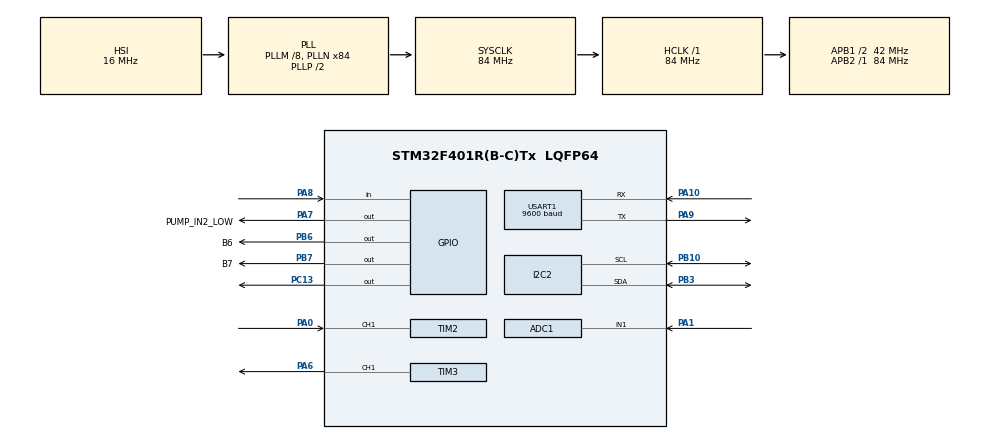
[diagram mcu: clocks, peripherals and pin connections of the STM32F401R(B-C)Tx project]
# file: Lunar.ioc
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ADC1.Channel-0\#ChannelRegularConversion=ADC_CHANNEL_1
ADC1.ClockPrescaler=ADC_CLOCK_SYNC_PCLK_DIV4
ADC1.NbrOfConversionFlag=1
ADC1.Rank-0\#ChannelRegularConversion=1
ADC1.SamplingTime-0\#ChannelRegularConversion=ADC_SAMPLETIME_84CYCLES
ADC1.master=1
Mcu.Family=STM32F4
Mcu.Name=STM32F401R(B-C)Tx
Mcu.Package=LQFP64
NVIC.PriorityGroup=NVIC_PRIORITYGROUP_4
PA0-WKUP.GPIO_PuPd=GPIO_PULLUP
PA0-WKUP.Signal=S_TIM2_CH1_ETR
PA1.Signal=ADCx_IN1
PA10.Mode=Asynchronous
PA10.Signal=USART1_RX
PA13.Mode=Serial_Wire
PA13.Signal=SYS_JTMS-SWDIO
PA14.Mode=Serial_Wire
PA14.Signal=SYS_JTCK-SWCLK
PA6.Signal=S_TIM3_CH1
PA7.GPIO_Label=PUMP_IN2_LOW
PA7.Signal=GPIO_Output
PA8.Signal=GPIO_Input
PA9.Mode=Asynchronous
PA9.Signal=USART1_TX
PB10.Mode=I2C
PB10.Signal=I2C2_SCL
PB3.Mode=I2C
PB3.Signal=I2C2_SDA
PB6.GPIO_Label=B6
PB6.GPIO_ModeDefaultOutputPP=GPIO_MODE_OUTPUT_OD
PB6.GPIO_PuPd=GPIO_NOPULL
PB6.Signal=GPIO_Output
PB7.GPIO_Label=B7
PB7.GPIO_ModeDefaultOutputPP=GPIO_MODE_OUTPUT_OD
PB7.GPIO_PuPd=GPIO_NOPULL
PB7.Signal=GPIO_Output
PC13-ANTI_TAMP.Signal=GPIO_Output
ProjectManager.HeapSize=0x200
ProjectManager.StackSize=0x400
ProjectManager.TargetToolchain=MDK-ARM V5.32
RCC.48MHZClocksFreq_Value=42000000
RCC.AHBFreq_Value=84000000
RCC.APB1CLKDivider=RCC_HCLK_DIV2
RCC.APB1Freq_Value=42000000
RCC.APB1TimFreq_Value=84000000
RCC.APB2Freq_Value=84000000
RCC.APB2TimFreq_Value=84000000
RCC.CortexFreq_Value=84000000
RCC.HCLKFreq_Value=84000000
RCC.HSE_VALUE=25000000
RCC.HSI_VALUE=16000000
RCC.LSE_VALUE=32768
RCC.PLLM=8
RCC.PLLN=84
RCC.SYSCLKFreq_VALUE=84000000
RCC.SYSCLKSource=RCC_SYSCLKSOURCE_PLLCLK
RCC.SystemCoreClock=16000000
RCC.VCOOutputFreq_Value=168000000
SH.ADCx_IN1.0=ADC1_IN1,IN1
SH.S_TIM2_CH1_ETR.0=TIM2_CH1,TriggerSource_TI1FP1
SH.S_TIM3_CH1.0=TIM3_CH1,PWM Generation1 CH1
TIM2.Slave_TriggerFilter=4
TIM3.Channel-PWM\ Generation1\ CH1=TIM_CHANNEL_1
TIM3.Period=57343
TIM3.Prescaler=5
USART1.BaudRate=9600
USART1.VirtualMode=VM_ASYNC
VP_TIM2_VS_ControllerModeClock.Mode=Clock Mode
VP_TIM3_VS_ClockSourceINT.Mode=Internal
board=custom

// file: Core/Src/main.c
/* USER CODE BEGIN Header */
/**
  ******************************************************************************
  * @file           : main.c
  * @brief          : Main program body
  ******************************************************************************
  * @attention
  *
  * Copyright (c) 2026 STMicroelectronics.
  * All rights reserved.
  *
  * This software is licensed under terms that can be found in the LICENSE file
  * in the root directory of this software component.
  * If no LICENSE file comes with this software, it is provided AS-IS.
  *
  ******************************************************************************
  */
/* USER CODE END Header */
#include "main.h"

/* USER CODE BEGIN Includes */
#include "OLED.h"
#include "Temprature.h"
#include "delay.h"
#include "MOTOR.h"
#include "PRESSURE.h"
#include "WATER.h"
#include "NETWORK.h"

/* USER CODE END Includes */

ADC_HandleTypeDef hadc1;

I2C_HandleTypeDef hi2c2;

TIM_HandleTypeDef htim2;
TIM_HandleTypeDef htim3;

UART_HandleTypeDef huart1;

/* USER CODE BEGIN PV */
float temperature_b6 = 0.0f;
float temperature_b7 = 0.0f;

DS18B20_Status temperature_b6_status;
DS18B20_Status temperature_b7_status;
/* USER CODE END PV */

void SystemClock_Config(void);
static void MX_GPIO_Init(void);
static void MX_I2C2_Init(void);
static void MX_TIM3_Init(void);
static void MX_ADC1_Init(void);
static void MX_TIM2_Init(void);
static void MX_USART1_UART_Init(void);
/* USER CODE BEGIN PFP */
static void Temperature_Task(void);
static void Pressure_Task(void);
static void Water_Task(void);

/* USER CODE END PFP */

/* USER CODE BEGIN 0 */

static void OLED_ShowTemperatureField(
    uint8_t column,
    char sensor_id,
    DS18B20_Status status,
    float temperature)
{
    int32_t temperature_x10;
    uint32_t absolute_x10;

    OLED_ShowChar(1, column, 'T');
    OLED_ShowChar(1, column + 1U, sensor_id);
    OLED_ShowChar(1, column + 2U, ':');

    if (status == DS18B20_BUSY)
    {
        OLED_ShowString(1, column + 3U, "WAIT ");
        return;
    }
    if (status != DS18B20_OK)
    {
        OLED_ShowString(1, column + 3U, "ERR  ");
        return;
    }

    temperature_x10 = (temperature >= 0.0f)
        ? (int32_t)(temperature * 10.0f + 0.5f)
        : (int32_t)(temperature * 10.0f - 0.5f);
    absolute_x10 = (temperature_x10 < 0)
        ? (uint32_t)(-temperature_x10)
        : (uint32_t)temperature_x10;
    if (absolute_x10 > 999U)
    {
        absolute_x10 = 999U;
    }

    OLED_ShowChar(1, column + 3U, temperature_x10 < 0 ? '-' : ' ');
    OLED_ShowNum(1, column + 4U, absolute_x10 / 10U, 2U);
    OLED_ShowChar(1, column + 6U, '.');
    OLED_ShowNum(1, column + 7U, absolute_x10 % 10U, 1U);
}

static void Temperature_Task(void)
{
    PERIODIC(750U);

    temperature_b6_status = DS18B20_ReadTemperature(
        B6_GPIO_Port, B6_Pin, &temperature_b6);
    temperature_b7_status = DS18B20_ReadTemperature(
        B7_GPIO_Port, B7_Pin, &temperature_b7);

    OLED_ShowTemperatureField(
        1U, '1', temperature_b6_status, temperature_b6);
    OLED_ShowTemperatureField(
        9U, '2', temperature_b7_status, temperature_b7);
}

static void Pressure_Task(void)
{
    int16_t delta_adc;
    uint16_t delta_magnitude;
    PRESSURE_Status pressure_status;

    PERIODIC(100U);

    pressure_status = PRESSURE_Update();

    if (pressure_status == PRESSURE_ADC_ERROR)
    {
        OLED_ShowString(3, 1, "Press:ADC ERROR ");
        OLED_ShowString(4, 1, "A:---- Z:");
        OLED_ShowNum(4, 10, PRESSURE_GetZeroADC(), 4U);
        return;
    }
    if (pressure_status != PRESSURE_OK)
    {
        OLED_ShowString(3, 1, "Press:WAIT      ");
        return;
    }

    /* Show Pa directly so changes below 0.001 MPa are still visible. */
    OLED_ShowString(3, 1, "P:");
    OLED_ShowNum(3, 3, PRESSURE_GetPa(), 7U);
    OLED_ShowString(3, 10, " Pa    ");

    delta_adc = PRESSURE_GetDeltaADC();
    delta_magnitude = (delta_adc < 0)
        ? (uint16_t)(-delta_adc)
        : (uint16_t)delta_adc;
    OLED_ShowString(4, 1, "A:");
    OLED_ShowNum(4, 3, PRESSURE_GetRawADC(), 4U);
    OLED_ShowString(4, 7, " D:");
    OLED_ShowChar(4, 10, delta_adc < 0 ? '-' : '+');
    OLED_ShowNum(4, 11, delta_magnitude, 4U);
    OLED_ShowString(4, 15, "  ");
}

static void Water_Task(void)
{
    uint16_t flow_x100;
    WATER_Status water_status;

    PERIODIC(100U);

    water_status = WATER_Update();

    if (water_status == WATER_TIMER_ERROR)
    {
        OLED_ShowString(2, 1, "Flow:TIM ERROR  ");
        return;
    }
    if (water_status != WATER_OK)
    {
        OLED_ShowString(2, 1, "Flow:WAIT       ");
        return;
    }

    flow_x100 = WATER_GetFlowCentiLMin();

    OLED_ShowString(2, 1, "Flow:");
    OLED_ShowNum(2, 6, flow_x100 / 100U, 2);
    OLED_ShowChar(2, 8, '.');
    OLED_ShowNum(2, 9, flow_x100 % 100U, 2);
    OLED_ShowString(2, 11, " L/min");
}

/* USER CODE END 0 */

int main(void)
{

  /* MCU Configuration--------------------------------------------------------*/

  /* Reset of all peripherals, Initializes the Flash interface and the Systick. */
  HAL_Init();

  /* Configure the system clock */
  SystemClock_Config();

  /* Initialize all configured peripherals */
  MX_GPIO_Init();
  MX_I2C2_Init();
  MX_TIM3_Init();
  MX_ADC1_Init();
  MX_TIM2_Init();
  MX_USART1_UART_Init();
  /* USER CODE BEGIN 2 */
    OLED_Init();

	DS18B20_Init();
	Delay_Init();
	MOTOR_Init();
	PRESSURE_Init();
	WATER_Init();
	NETWORK_Init(&huart1);

    OLED_ShowString(1, 1, "T1:WAIT T2:WAIT ");
    OLED_ShowString(2, 1, "Flow:WAIT       ");
    OLED_ShowString(3, 1, "Press:WAIT      ");
    OLED_ShowString(4, 1, "A:---- D:-----  ");

  /* USER CODE END 2 */

  /* Infinite loop */
  /* USER CODE BEGIN WHILE */
  while (1)
  {
    Temperature_Task();
	Pressure_Task();
	Water_Task();
	MOTOR_Slice(60U, 8000U);

	PERIODIC_START(network_send, 250U)

        NETWORK_SendSensorData(
            temperature_b6,
            PRESSURE_GetMilliMPa(),
            WATER_GetFlowCentiLMin()
        );

    PERIODIC_END;

    /* USER CODE END WHILE */

  }
}

void SystemClock_Config(void)
{
  RCC_OscInitTypeDef RCC_OscInitStruct = {0};
  RCC_ClkInitTypeDef RCC_ClkInitStruct = {0};

  /** Configure the main internal regulator output voltage
  */
  __HAL_RCC_PWR_CLK_ENABLE();
  __HAL_PWR_VOLTAGESCALING_CONFIG(PWR_REGULATOR_VOLTAGE_SCALE2);

  /** Initializes the RCC Oscillators according to the specified parameters
  * in the RCC_OscInitTypeDef structure.
  */
  RCC_OscInitStruct.OscillatorType = RCC_OSCILLATORTYPE_HSI;
  RCC_OscInitStruct.HSIState = RCC_HSI_ON;
  RCC_OscInitStruct.HSICalibrationValue = RCC_HSICALIBRATION_DEFAULT;
  RCC_OscInitStruct.PLL.PLLState = RCC_PLL_ON;
  RCC_OscInitStruct.PLL.PLLSource = RCC_PLLSOURCE_HSI;
  RCC_OscInitStruct.PLL.PLLM = 8;
  RCC_OscInitStruct.PLL.PLLN = 84;
  RCC_OscInitStruct.PLL.PLLP = RCC_PLLP_DIV2;
  RCC_OscInitStruct.PLL.PLLQ = 4;
  if (HAL_RCC_OscConfig(&RCC_OscInitStruct) != HAL_OK)
  {
    Error_Handler();
  }

  /** Initializes the CPU, AHB and APB buses clocks
  */
  RCC_ClkInitStruct.ClockType = RCC_CLOCKTYPE_HCLK|RCC_CLOCKTYPE_SYSCLK
                              |RCC_CLOCKTYPE_PCLK1|RCC_CLOCKTYPE_PCLK2;
  RCC_ClkInitStruct.SYSCLKSource = RCC_SYSCLKSOURCE_PLLCLK;
  RCC_ClkInitStruct.AHBCLKDivider = RCC_SYSCLK_DIV1;
  RCC_ClkInitStruct.APB1CLKDivider = RCC_HCLK_DIV2;
  RCC_ClkInitStruct.APB2CLKDivider = RCC_HCLK_DIV1;

  if (HAL_RCC_ClockConfig(&RCC_ClkInitStruct, FLASH_LATENCY_2) != HAL_OK)
  {
    Error_Handler();
  }
}

static void MX_ADC1_Init(void)
{

  ADC_ChannelConfTypeDef sConfig = {0};

  /** Configure the global features of the ADC (Clock, Resolution, Data Alignment and number of conversion)
  */
  hadc1.Instance = ADC1;
  hadc1.Init.ClockPrescaler = ADC_CLOCK_SYNC_PCLK_DIV4;
  hadc1.Init.Resolution = ADC_RESOLUTION_12B;
  hadc1.Init.ScanConvMode = DISABLE;
  hadc1.Init.ContinuousConvMode = DISABLE;
  hadc1.Init.DiscontinuousConvMode = DISABLE;
  hadc1.Init.ExternalTrigConvEdge = ADC_EXTERNALTRIGCONVEDGE_NONE;
  hadc1.Init.ExternalTrigConv = ADC_SOFTWARE_START;
  hadc1.Init.DataAlign = ADC_DATAALIGN_RIGHT;
  hadc1.Init.NbrOfConversion = 1;
  hadc1.Init.DMAContinuousRequests = DISABLE;
  hadc1.Init.EOCSelection = ADC_EOC_SINGLE_CONV;
  if (HAL_ADC_Init(&hadc1) != HAL_OK)
  {
    Error_Handler();
  }

  /** Configure for the selected ADC regular channel its corresponding rank in the sequencer and its sample time.
  */
  sConfig.Channel = ADC_CHANNEL_1;
  sConfig.Rank = 1;
  sConfig.SamplingTime = ADC_SAMPLETIME_84CYCLES;
  if (HAL_ADC_ConfigChannel(&hadc1, &sConfig) != HAL_OK)
  {
    Error_Handler();
  }

}

static void MX_I2C2_Init(void)
{

  hi2c2.Instance = I2C2;
  hi2c2.Init.ClockSpeed = 100000;
  hi2c2.Init.DutyCycle = I2C_DUTYCYCLE_2;
  hi2c2.Init.OwnAddress1 = 0;
  hi2c2.Init.AddressingMode = I2C_ADDRESSINGMODE_7BIT;
  hi2c2.Init.DualAddressMode = I2C_DUALADDRESS_DISABLE;
  hi2c2.Init.OwnAddress2 = 0;
  hi2c2.Init.GeneralCallMode = I2C_GENERALCALL_DISABLE;
  hi2c2.Init.NoStretchMode = I2C_NOSTRETCH_DISABLE;
  if (HAL_I2C_Init(&hi2c2) != HAL_OK)
  {
    Error_Handler();
  }

}

static void MX_TIM2_Init(void)
{

  TIM_SlaveConfigTypeDef sSlaveConfig = {0};
  TIM_MasterConfigTypeDef sMasterConfig = {0};

  htim2.Instance = TIM2;
  htim2.Init.Prescaler = 0;
  htim2.Init.CounterMode = TIM_COUNTERMODE_UP;
  htim2.Init.Period = 4294967295;
  htim2.Init.ClockDivision = TIM_CLOCKDIVISION_DIV1;
  htim2.Init.AutoReloadPreload = TIM_AUTORELOAD_PRELOAD_DISABLE;
  if (HAL_TIM_Base_Init(&htim2) != HAL_OK)
  {
    Error_Handler();
  }
  sSlaveConfig.SlaveMode = TIM_SLAVEMODE_EXTERNAL1;
  sSlaveConfig.InputTrigger = TIM_TS_TI1FP1;
  sSlaveConfig.TriggerPolarity = TIM_TRIGGERPOLARITY_RISING;
  sSlaveConfig.TriggerFilter = 4;
  if (HAL_TIM_SlaveConfigSynchro(&htim2, &sSlaveConfig) != HAL_OK)
  {
    Error_Handler();
  }
  sMasterConfig.MasterOutputTrigger = TIM_TRGO_RESET;
  sMasterConfig.MasterSlaveMode = TIM_MASTERSLAVEMODE_DISABLE;
  if (HAL_TIMEx_MasterConfigSynchronization(&htim2, &sMasterConfig) != HAL_OK)
  {
    Error_Handler();
  }

}

static void MX_TIM3_Init(void)
{

  TIM_ClockConfigTypeDef sClockSourceConfig = {0};
  TIM_MasterConfigTypeDef sMasterConfig = {0};
  TIM_OC_InitTypeDef sConfigOC = {0};

  htim3.Instance = TIM3;
  htim3.Init.Prescaler = 5;
  htim3.Init.CounterMode = TIM_COUNTERMODE_UP;
  htim3.Init.Period = 57343;
  htim3.Init.ClockDivision = TIM_CLOCKDIVISION_DIV1;
  htim3.Init.AutoReloadPreload = TIM_AUTORELOAD_PRELOAD_DISABLE;
  if (HAL_TIM_Base_Init(&htim3) != HAL_OK)
  {
    Error_Handler();
  }
  sClockSourceConfig.ClockSource = TIM_CLOCKSOURCE_INTERNAL;
  if (HAL_TIM_ConfigClockSource(&htim3, &sClockSourceConfig) != HAL_OK)
  {
    Error_Handler();
  }
  if (HAL_TIM_PWM_Init(&htim3) != HAL_OK)
  {
    Error_Handler();
  }
  sMasterConfig.MasterOutputTrigger = TIM_TRGO_RESET;
  sMasterConfig.MasterSlaveMode = TIM_MASTERSLAVEMODE_DISABLE;
  if (HAL_TIMEx_MasterConfigSynchronization(&htim3, &sMasterConfig) != HAL_OK)
  {
    Error_Handler();
  }
  sConfigOC.OCMode = TIM_OCMODE_PWM1;
  sConfigOC.Pulse = 0;
  sConfigOC.OCPolarity = TIM_OCPOLARITY_HIGH;
  sConfigOC.OCFastMode = TIM_OCFAST_DISABLE;
  if (HAL_TIM_PWM_ConfigChannel(&htim3, &sConfigOC, TIM_CHANNEL_1) != HAL_OK)
  {
    Error_Handler();
  }
  HAL_TIM_MspPostInit(&htim3);

}

static void MX_USART1_UART_Init(void)
{

  huart1.Instance = USART1;
  huart1.Init.BaudRate = 9600;
  huart1.Init.WordLength = UART_WORDLENGTH_8B;
  huart1.Init.StopBits = UART_STOPBITS_1;
  huart1.Init.Parity = UART_PARITY_NONE;
  huart1.Init.Mode = UART_MODE_TX_RX;
  huart1.Init.HwFlowCtl = UART_HWCONTROL_NONE;
  huart1.Init.OverSampling = UART_OVERSAMPLING_16;
  if (HAL_UART_Init(&huart1) != HAL_OK)
  {
    Error_Handler();
  }

}

static void MX_GPIO_Init(void)
{
  GPIO_InitTypeDef GPIO_InitStruct = {0};

  /* GPIO Ports Clock Enable */
  __HAL_RCC_GPIOC_CLK_ENABLE();
  __HAL_RCC_GPIOA_CLK_ENABLE();
  __HAL_RCC_GPIOB_CLK_ENABLE();

  /*Configure GPIO pin Output Level */
  HAL_GPIO_WritePin(GPIOC, GPIO_PIN_13, GPIO_PIN_RESET);

  /*Configure GPIO pin Output Level */
  HAL_GPIO_WritePin(GPIOA, GPIO_PIN_7, GPIO_PIN_RESET);

  /*Configure GPIO pin Output Level */
  HAL_GPIO_WritePin(GPIOB, B6_Pin|B7_Pin, GPIO_PIN_RESET);

  /*Configure GPIO pin : PC13 */
  GPIO_InitStruct.Pin = GPIO_PIN_13;
  GPIO_InitStruct.Mode = GPIO_MODE_OUTPUT_PP;
  GPIO_InitStruct.Pull = GPIO_NOPULL;
  GPIO_InitStruct.Speed = GPIO_SPEED_FREQ_LOW;
  HAL_GPIO_Init(GPIOC, &GPIO_InitStruct);

  /*Configure GPIO pin : PA8 */
  GPIO_InitStruct.Pin = GPIO_PIN_8;
  GPIO_InitStruct.Mode = GPIO_MODE_INPUT;
  GPIO_InitStruct.Pull = GPIO_NOPULL;
  HAL_GPIO_Init(GPIOA, &GPIO_InitStruct);

  /*Configure GPIO pin : PA7 (DRV8870 IN2, fixed low) */
  GPIO_InitStruct.Pin = GPIO_PIN_7;
  GPIO_InitStruct.Mode = GPIO_MODE_OUTPUT_PP;
  GPIO_InitStruct.Pull = GPIO_NOPULL;
  GPIO_InitStruct.Speed = GPIO_SPEED_FREQ_LOW;
  HAL_GPIO_Init(GPIOA, &GPIO_InitStruct);

  /*Configure GPIO pins : B6_Pin B7_Pin */
  GPIO_InitStruct.Pin = B6_Pin|B7_Pin;
  GPIO_InitStruct.Mode = GPIO_MODE_OUTPUT_OD;
  GPIO_InitStruct.Pull = GPIO_NOPULL;
  GPIO_InitStruct.Speed = GPIO_SPEED_FREQ_LOW;
  HAL_GPIO_Init(GPIOB, &GPIO_InitStruct);

}

void Error_Handler(void)
{
  __disable_irq();
  while (1)
  {
  }
}
